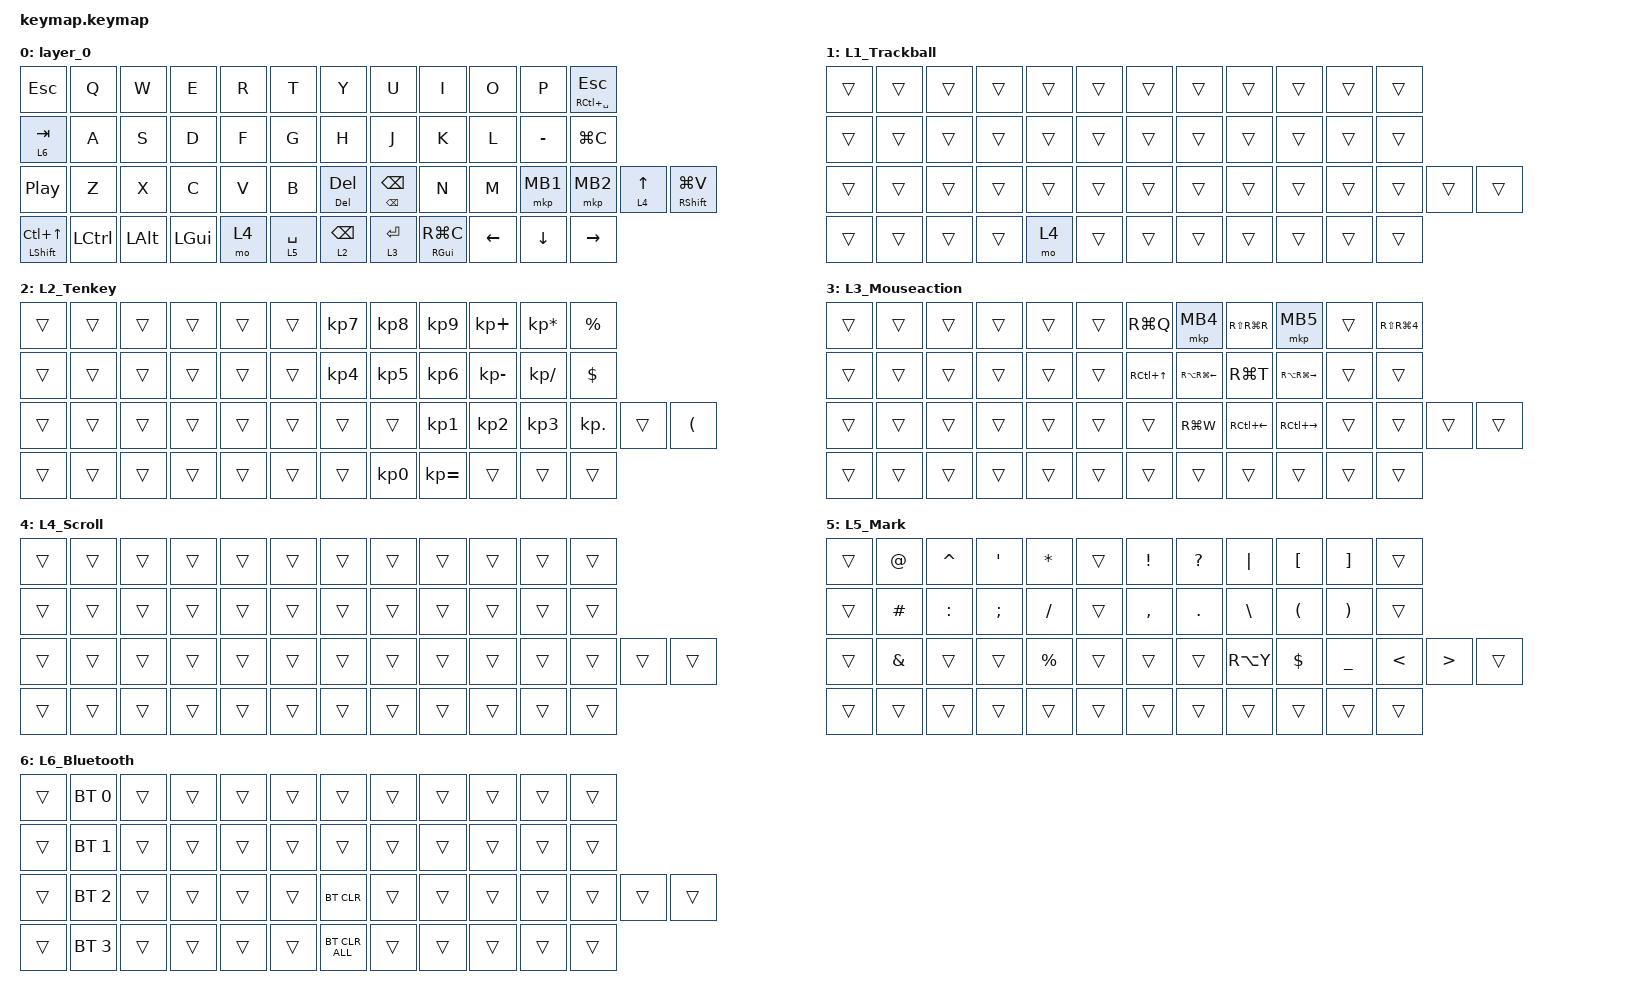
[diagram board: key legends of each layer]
#include <behaviors.dtsi>
#include <dt-bindings/zmk/bt.h>
#include <dt-bindings/zmk/keys.h>
#include <dt-bindings/zmk/pointing.h>

/ {
    combos { compatible = "zmk,combos"; };

    keymap {
        compatible = "zmk,keymap";

        layer_0 {
            bindings = <
&kp ESCAPE                   &kp Q      &kp W         &kp E         &kp R  &kp T        &kp Y              &kp U                    &kp I                &kp O           &kp P           &mt RC(SPACE) ESCAPE
&lt 6 TAB                    &kp A      &kp S         &kp D         &kp F  &kp G        &kp H              &kp J                    &kp K                &kp L           &kp MINUS       &kp LG(C)
&kp C_PLAY_PAUSE             &kp Z      &kp X         &kp C         &kp V  &kp B        &mt DELETE DELETE  &mt BACKSPACE BACKSPACE  &kp N                &kp M           &mkp MB1        &mkp MB2              &lt 4 UP_ARROW  &mt RSHFT LG(V)
&mt LEFT_SHIFT LC(UP_ARROW)  &kp LCTRL  &kp LEFT_ALT  &kp LEFT_GUI  &mo 4  &lt 5 SPACE  &lt 2 BACKSPACE    &lt 3 ENTER              &mt RIGHT_GUI RG(C)  &kp LEFT_ARROW  &kp DOWN_ARROW  &kp RIGHT_ARROW
            >;
        };

        L1_Trackball {
            bindings = <
&trans  &trans  &trans  &trans  &trans  &trans  &trans  &trans  &trans  &trans  &trans  &trans
&trans  &trans  &trans  &trans  &trans  &trans  &trans  &trans  &trans  &trans  &trans  &trans
&trans  &trans  &trans  &trans  &trans  &trans  &trans  &trans  &trans  &trans  &trans  &trans  &trans  &trans
&trans  &trans  &trans  &trans  &mo 4   &trans  &trans  &trans  &trans  &trans  &trans  &trans
            >;
        };

        L2_Tenkey {
            bindings = <
&trans  &trans  &trans  &trans  &trans  &trans  &kp KP_NUMBER_7  &kp KP_NUMBER_8  &kp KP_NUMBER_9  &kp KP_PLUS      &kp KP_ASTERISK  &kp PRCNT
&trans  &trans  &trans  &trans  &trans  &trans  &kp KP_NUMBER_4  &kp KP_NUMBER_5  &kp KP_NUMBER_6  &kp KP_MINUS     &kp KP_SLASH     &kp DLLR
&trans  &trans  &trans  &trans  &trans  &trans  &trans           &trans           &kp KP_NUMBER_1  &kp KP_NUMBER_2  &kp KP_NUMBER_3  &kp KP_DOT  &trans  &kp LPAR
&trans  &trans  &trans  &trans  &trans  &trans  &trans           &kp KP_NUMBER_0  &kp KP_EQUAL     &trans           &trans           &trans
            >;
        };

        L3_Mouseaction {
            bindings = <
&trans  &trans  &trans  &trans  &trans  &trans  &kp RG(Q)         &mkp MB4                &kp RS(RG(R))       &mkp MB5                 &trans  &kp RS(RG(N4))
&trans  &trans  &trans  &trans  &trans  &trans  &kp RC(UP_ARROW)  &kp RA(RG(LEFT_ARROW))  &kp RG(T)           &kp RA(RG(RIGHT_ARROW))  &trans  &trans
&trans  &trans  &trans  &trans  &trans  &trans  &trans            &kp RG(W)               &kp RC(LEFT_ARROW)  &kp RC(RIGHT_ARROW)      &trans  &trans          &trans  &trans
&trans  &trans  &trans  &trans  &trans  &trans  &trans            &trans                  &trans              &trans                   &trans  &trans
            >;
        };

        L4_Scroll {
            bindings = <
&trans  &trans  &trans  &trans  &trans  &trans  &trans  &trans  &trans  &trans  &trans  &trans
&trans  &trans  &trans  &trans  &trans  &trans  &trans  &trans  &trans  &trans  &trans  &trans
&trans  &trans  &trans  &trans  &trans  &trans  &trans  &trans  &trans  &trans  &trans  &trans  &trans  &trans
&trans  &trans  &trans  &trans  &trans  &trans  &trans  &trans  &trans  &trans  &trans  &trans
            >;
        };

        L5_Mark {
            bindings = <
&trans  &kp AT_SIGN    &kp CARET  &kp SQT        &kp STAR     &trans  &kp EXCLAMATION  &kp QUESTION  &kp PIPE       &kp LEFT_BRACKET      &kp RIGHT_BRACKET      &trans
&trans  &kp HASH       &kp COLON  &kp SEMICOLON  &kp SLASH    &trans  &kp COMMA        &kp PERIOD    &kp BACKSLASH  &kp LEFT_PARENTHESIS  &kp RIGHT_PARENTHESIS  &trans
&trans  &kp AMPERSAND  &trans     &trans         &kp PERCENT  &trans  &trans           &trans        &kp RA(Y)      &kp DOLLAR            &kp UNDERSCORE         &kp LESS_THAN  &kp GREATER_THAN  &trans
&trans  &trans         &trans     &trans         &trans       &trans  &trans           &trans        &trans         &trans                &trans                 &trans
            >;
        };

        L6_Bluetooth {
            bindings = <
&trans  &bt BT_SEL 0  &trans  &trans  &trans  &trans  &trans          &trans  &trans  &trans  &trans  &trans
&trans  &bt BT_SEL 1  &trans  &trans  &trans  &trans  &trans          &trans  &trans  &trans  &trans  &trans
&trans  &bt BT_SEL 2  &trans  &trans  &trans  &trans  &bt BT_CLR      &trans  &trans  &trans  &trans  &trans  &trans  &trans
&trans  &bt BT_SEL 3  &trans  &trans  &trans  &trans  &bt BT_CLR_ALL  &trans  &trans  &trans  &trans  &trans
            >;
        };
    };
};
